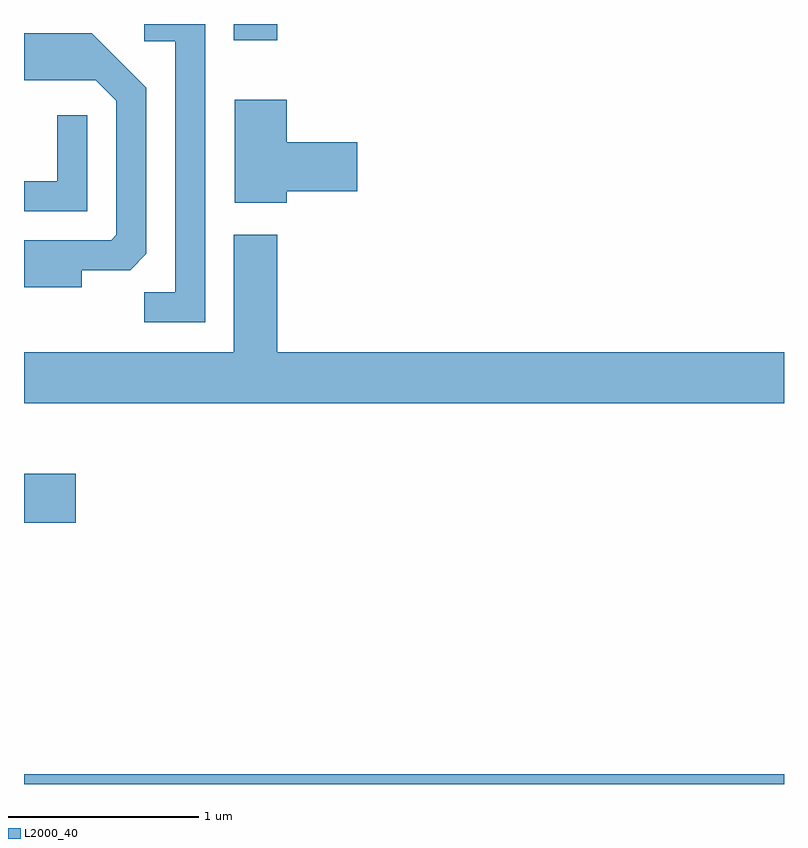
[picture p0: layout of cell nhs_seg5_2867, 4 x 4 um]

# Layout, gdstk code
import gdstk
lib = gdstk.Library(unit=1e-6, precision=1e-09)
def R(c, l, rs):  # rectangles x0, y0, x1, y1
    for r in rs: c.add(gdstk.rectangle(r[:2], r[2:], *l))
def P(c, l, *ps):  # polygons
    for p in ps: c.add(gdstk.Polygon(p, *l))
L2000_40 = (2000, 40)

nhs_seg5_2867 = lib.new_cell('nhs_seg5_2867')
R(nhs_seg5_2867, L2000_40, [(269.611,1508.072,273.611,1508.124), (269.611,1509.446,269.884,1509.704), (270.716,1511.986,270.944,1512.072)])
P(nhs_seg5_2867, L2000_40, [(270.564,1512.072),(270.243,1512.072),(270.243,1511.981),(270.406,1511.981),(270.406,1510.659),(270.243,1510.659),(270.243,1510.501),(270.564,1510.501)],
  [(269.914,1510.776),(270.169,1510.776),(270.254,1510.862),(270.254,1511.737),(269.967,1512.024),(269.611,1512.024),(269.611,1511.776),(269.989,1511.776),(270.096,1511.669),(270.096,1510.962),(270.069,1510.934),(269.611,1510.934),(269.611,1510.686),(269.914,1510.686)],
  [(270.994,1511.191),(271.364,1511.191),(271.364,1511.449),(270.994,1511.449),(270.994,1511.674),(270.721,1511.674),(270.721,1511.131),(270.994,1511.131)],
  [(269.944,1511.593),(269.786,1511.593),(269.786,1511.244),(269.611,1511.244),(269.611,1511.086),(269.944,1511.086)],
  [(273.611,1510.344),(270.944,1510.344),(270.944,1510.964),(270.716,1510.964),(270.716,1510.344),(269.611,1510.344),(269.611,1510.076),(273.611,1510.076)])

lib.write_gds('nhs_seg5_2867.gds')
